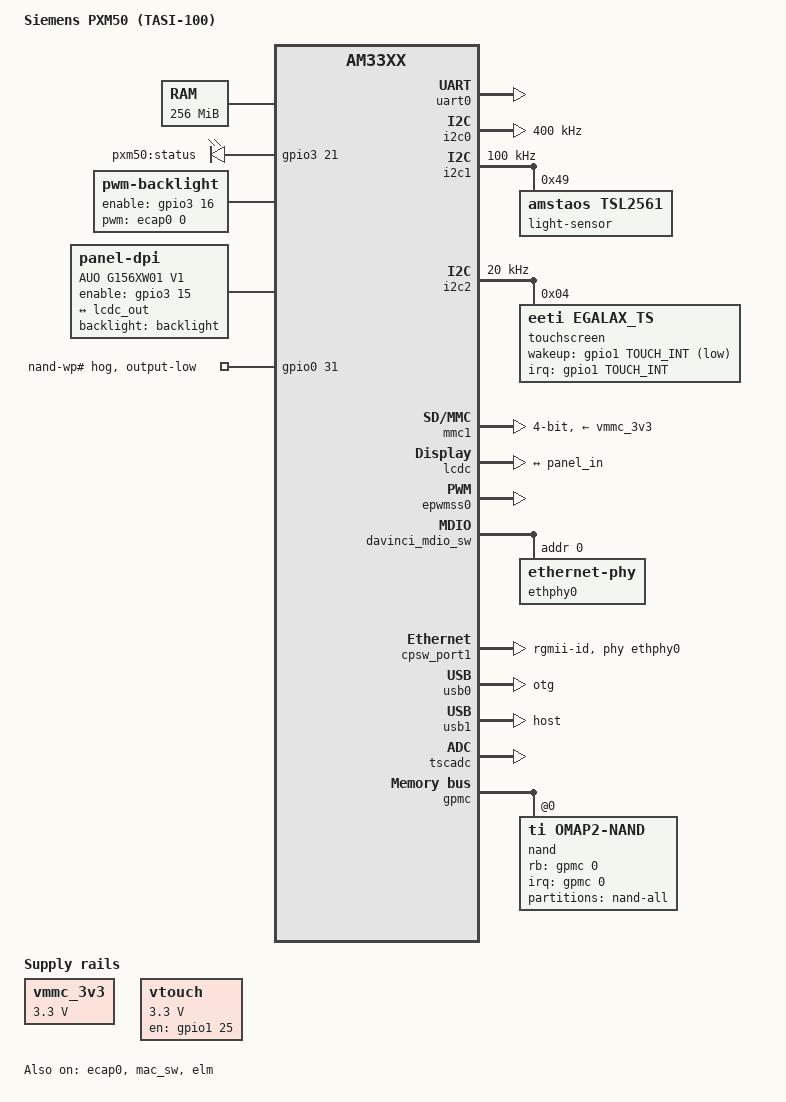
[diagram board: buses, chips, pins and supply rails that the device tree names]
// SPDX-License-Identifier: GPL-2.0
/*
 * Siemens PXM50 (Board TASI-100, AM3354 PG1.0, 2x DDR2 x8, 1 GB NAND)
 * v0.5 – Quellen: U-Boot board/siemens/pxm2 (board.c, mux.c, include/configs/pxm2.h)
 */
/dts-v1/;

#include "am33xx.dtsi"
#include <dt-bindings/gpio/gpio.h>
#include <dt-bindings/interrupt-controller/irq.h>

/* eGalax-INT: verifiziert gpio1_24 (GPIO1 DATAIN Bit 24 kippt bei Berührung) */
#ifndef TOUCH_INT
#define TOUCH_INT 24
#endif

/ {
	model = "Siemens PXM50 (TASI-100)";
	compatible = "siemens,pxm50", "ti,am33xx";

	chosen {
		stdout-path = &uart0;
	};

	memory@80000000 {
		device_type = "memory";
		reg = <0x80000000 0x10000000>; /* 256 MB, U-Boot korrigiert */
	};

	leds {
		compatible = "gpio-leds";
		pinctrl-names = "default";
		pinctrl-0 = <&led_pins>;

		led-status {
			label = "pxm50:status";
			gpios = <&gpio3 21 GPIO_ACTIVE_HIGH>;	/* GPIO 117 */
			linux,default-trigger = "none";	/* rot – später: HA-Verbindungsstatus */
			default-state = "off";
		};
	};

	vmmc_3v3: regulator-vmmc {
		compatible = "regulator-fixed";
		regulator-name = "vmmc";
		regulator-min-microvolt = <3300000>;
		regulator-max-microvolt = <3300000>;
		regulator-always-on;
	};

	vtouch: regulator-touch {
		compatible = "regulator-fixed";
		regulator-name = "touch-power";
		regulator-min-microvolt = <3300000>;
		regulator-max-microvolt = <3300000>;
		gpio = <&gpio1 25 GPIO_ACTIVE_HIGH>;	/* GPIO 57 */
		enable-active-high;
		regulator-always-on;
		regulator-boot-on;
		pinctrl-names = "default";
		pinctrl-0 = <&touch_pwr_pins>;
	};

	backlight: backlight {
		compatible = "pwm-backlight";
		pwms = <&ecap0 0 50000 0>;		/* 20 kHz wie Siemens (0x1388 Ticks) */
		brightness-levels = <0 10 20 30 40 50 60 70 80 90 100>;
		default-brightness-level = <5>;		/* 50 %: sichtbar, egal welche Polarität */
		enable-gpios = <&gpio3 16 GPIO_ACTIVE_HIGH>;	/* GPIO 112 */
		pinctrl-names = "default";
		pinctrl-0 = <&bl_pins>;
	};

	panel {
		compatible = "panel-dpi";
		label = "AUO G156XW01 V1";
		width-mm = <344>;
		height-mm = <194>;
		enable-gpios = <&gpio3 15 GPIO_ACTIVE_HIGH>;	/* GPIO 111, LCD-Power */
		backlight = <&backlight>;
		pinctrl-names = "default";
		pinctrl-0 = <&lcd_pwr_pins>;

		panel-timing {
			clock-frequency = <60000000>;
			hactive = <1376>;	/* LCDC braucht Vielfache von 16 */
			vactive = <768>;
			hfront-porch = <14>;
			hback-porch = <64>;
			hsync-len = <56>;
			vfront-porch = <1>;
			vback-porch = <28>;
			vsync-len = <3>;
			hsync-active = <0>;	/* invert_line_clock = 1 */
			vsync-active = <0>;	/* invert_frm_clock = 1 */
			de-active = <1>;
			pixelclk-active = <1>;	/* invert_pxl_clk = 0 */
		};

		port {
			panel_in: endpoint {
				remote-endpoint = <&lcdc_out>;
			};
		};
	};
};

&am33xx_pinmux {
	uart0_pins: pinmux-uart0 {
		pinctrl-single,pins = <
			AM33XX_PADCONF(AM335X_PIN_UART0_RXD, PIN_INPUT_PULLUP, MUX_MODE0)
			AM33XX_PADCONF(AM335X_PIN_UART0_TXD, PIN_OUTPUT_PULLDOWN, MUX_MODE0)
		>;
	};

	i2c0_pins: pinmux-i2c0 {
		pinctrl-single,pins = <
			AM33XX_PADCONF(AM335X_PIN_I2C0_SDA, PIN_INPUT_PULLUP, MUX_MODE0)
			AM33XX_PADCONF(AM335X_PIN_I2C0_SCL, PIN_INPUT_PULLUP, MUX_MODE0)
		>;
	};

	i2c1_pins: pinmux-i2c1 {
		pinctrl-single,pins = <
			AM33XX_PADCONF(AM335X_PIN_SPI0_D1, PIN_INPUT_PULLUP, MUX_MODE2)	/* i2c1_sda */
			AM33XX_PADCONF(AM335X_PIN_SPI0_CS0, PIN_INPUT_PULLUP, MUX_MODE2)	/* i2c1_scl */
		>;
	};

	i2c2_pins: pinmux-i2c2 {
		pinctrl-single,pins = <
			AM33XX_PADCONF(AM335X_PIN_SPI0_SCLK, PIN_INPUT_PULLUP, MUX_MODE2)	/* i2c2_sda */
			AM33XX_PADCONF(AM335X_PIN_SPI0_D0, PIN_INPUT_PULLUP, MUX_MODE2)	/* i2c2_scl */
		>;
	};

	touch_int_pins: pinmux-touch-int {
		pinctrl-single,pins = <
			AM33XX_PADCONF(AM335X_PIN_GPMC_A6, PIN_INPUT_PULLUP, MUX_MODE7)	/* gpio1_22 */
			AM33XX_PADCONF(AM335X_PIN_GPMC_A8, PIN_INPUT_PULLUP, MUX_MODE7)	/* gpio1_24 */
		>;
	};

	mmc0_pins: pinmux-mmc0 {
		pinctrl-single,pins = <
			AM33XX_PADCONF(AM335X_PIN_MMC0_DAT3, PIN_INPUT_PULLUP, MUX_MODE0)
			AM33XX_PADCONF(AM335X_PIN_MMC0_DAT2, PIN_INPUT_PULLUP, MUX_MODE0)
			AM33XX_PADCONF(AM335X_PIN_MMC0_DAT1, PIN_INPUT_PULLUP, MUX_MODE0)
			AM33XX_PADCONF(AM335X_PIN_MMC0_DAT0, PIN_INPUT_PULLUP, MUX_MODE0)
			AM33XX_PADCONF(AM335X_PIN_MMC0_CLK, PIN_INPUT_PULLUP, MUX_MODE0)
			AM33XX_PADCONF(AM335X_PIN_MMC0_CMD, PIN_INPUT_PULLUP, MUX_MODE0)
		>;
	};

	lcd_pins: pinmux-lcd {
		pinctrl-single,pins = <
			AM33XX_PADCONF(AM335X_PIN_LCD_DATA0, PIN_OUTPUT, MUX_MODE0)
			AM33XX_PADCONF(AM335X_PIN_LCD_DATA1, PIN_OUTPUT, MUX_MODE0)
			AM33XX_PADCONF(AM335X_PIN_LCD_DATA2, PIN_OUTPUT, MUX_MODE0)
			AM33XX_PADCONF(AM335X_PIN_LCD_DATA3, PIN_OUTPUT, MUX_MODE0)
			AM33XX_PADCONF(AM335X_PIN_LCD_DATA4, PIN_OUTPUT, MUX_MODE0)
			AM33XX_PADCONF(AM335X_PIN_LCD_DATA5, PIN_OUTPUT, MUX_MODE0)
			AM33XX_PADCONF(AM335X_PIN_LCD_DATA6, PIN_OUTPUT, MUX_MODE0)
			AM33XX_PADCONF(AM335X_PIN_LCD_DATA7, PIN_OUTPUT, MUX_MODE0)
			AM33XX_PADCONF(AM335X_PIN_LCD_DATA8, PIN_OUTPUT, MUX_MODE0)
			AM33XX_PADCONF(AM335X_PIN_LCD_DATA9, PIN_OUTPUT, MUX_MODE0)
			AM33XX_PADCONF(AM335X_PIN_LCD_DATA10, PIN_OUTPUT, MUX_MODE0)
			AM33XX_PADCONF(AM335X_PIN_LCD_DATA11, PIN_OUTPUT, MUX_MODE0)
			AM33XX_PADCONF(AM335X_PIN_LCD_DATA12, PIN_OUTPUT, MUX_MODE0)
			AM33XX_PADCONF(AM335X_PIN_LCD_DATA13, PIN_OUTPUT, MUX_MODE0)
			AM33XX_PADCONF(AM335X_PIN_LCD_DATA14, PIN_OUTPUT, MUX_MODE0)
			AM33XX_PADCONF(AM335X_PIN_LCD_DATA15, PIN_OUTPUT, MUX_MODE0)
			AM33XX_PADCONF(AM335X_PIN_GPMC_AD8, PIN_OUTPUT, MUX_MODE1)	/* lcd_data16 */
			AM33XX_PADCONF(AM335X_PIN_GPMC_AD9, PIN_OUTPUT, MUX_MODE1)
			AM33XX_PADCONF(AM335X_PIN_GPMC_AD10, PIN_OUTPUT, MUX_MODE1)
			AM33XX_PADCONF(AM335X_PIN_GPMC_AD11, PIN_OUTPUT, MUX_MODE1)
			AM33XX_PADCONF(AM335X_PIN_GPMC_AD12, PIN_OUTPUT, MUX_MODE1)
			AM33XX_PADCONF(AM335X_PIN_GPMC_AD13, PIN_OUTPUT, MUX_MODE1)
			AM33XX_PADCONF(AM335X_PIN_GPMC_AD14, PIN_OUTPUT, MUX_MODE1)
			AM33XX_PADCONF(AM335X_PIN_GPMC_AD15, PIN_OUTPUT, MUX_MODE1)	/* lcd_data23 */
			AM33XX_PADCONF(AM335X_PIN_LCD_VSYNC, PIN_OUTPUT, MUX_MODE0)
			AM33XX_PADCONF(AM335X_PIN_LCD_HSYNC, PIN_OUTPUT, MUX_MODE0)
			AM33XX_PADCONF(AM335X_PIN_LCD_PCLK, PIN_OUTPUT, MUX_MODE0)
			AM33XX_PADCONF(AM335X_PIN_LCD_AC_BIAS_EN, PIN_OUTPUT, MUX_MODE0)
		>;
	};

	lcd_pwr_pins: pinmux-lcd-pwr {
		pinctrl-single,pins = <
			AM33XX_PADCONF(AM335X_PIN_MCASP0_FSX, PIN_OUTPUT, MUX_MODE7)	/* gpio3_15 */
		>;
	};

	bl_pins: pinmux-backlight {
		pinctrl-single,pins = <
			AM33XX_PADCONF(AM335X_PIN_MCASP0_AXR0, PIN_OUTPUT, MUX_MODE7)	/* gpio3_16 */
		>;
	};

	ecap0_pins: pinmux-ecap0 {
		pinctrl-single,pins = <
			AM33XX_PADCONF(AM335X_PIN_ECAP0_IN_PWM0_OUT, PIN_OUTPUT, MUX_MODE0)
		>;
	};

	touch_pwr_pins: pinmux-touch-pwr {
		pinctrl-single,pins = <
			AM33XX_PADCONF(AM335X_PIN_GPMC_A9, PIN_OUTPUT, MUX_MODE7)	/* gpio1_25 */
		>;
	};

	led_pins: pinmux-led {
		pinctrl-single,pins = <
			AM33XX_PADCONF(AM335X_PIN_MCASP0_AHCLKX, PIN_OUTPUT, MUX_MODE7)	/* gpio3_21 */
		>;
	};

	cpsw_pins: pinmux-cpsw {
		pinctrl-single,pins = <
			AM33XX_PADCONF(AM335X_PIN_MII1_TX_EN, PIN_OUTPUT_PULLDOWN, MUX_MODE2)	/* rgmii1_tctl */
			AM33XX_PADCONF(AM335X_PIN_MII1_RX_DV, PIN_INPUT_PULLDOWN, MUX_MODE2)	/* rgmii1_rctl */
			AM33XX_PADCONF(AM335X_PIN_MII1_TXD3, PIN_OUTPUT_PULLDOWN, MUX_MODE2)
			AM33XX_PADCONF(AM335X_PIN_MII1_TXD2, PIN_OUTPUT_PULLDOWN, MUX_MODE2)
			AM33XX_PADCONF(AM335X_PIN_MII1_TXD1, PIN_OUTPUT_PULLDOWN, MUX_MODE2)
			AM33XX_PADCONF(AM335X_PIN_MII1_TXD0, PIN_OUTPUT_PULLDOWN, MUX_MODE2)
			AM33XX_PADCONF(AM335X_PIN_MII1_TX_CLK, PIN_OUTPUT_PULLDOWN, MUX_MODE2)
			AM33XX_PADCONF(AM335X_PIN_MII1_RX_CLK, PIN_INPUT_PULLDOWN, MUX_MODE2)
			AM33XX_PADCONF(AM335X_PIN_MII1_RXD3, PIN_INPUT_PULLDOWN, MUX_MODE2)
			AM33XX_PADCONF(AM335X_PIN_MII1_RXD2, PIN_INPUT_PULLDOWN, MUX_MODE2)
			AM33XX_PADCONF(AM335X_PIN_MII1_RXD1, PIN_INPUT_PULLDOWN, MUX_MODE2)
			AM33XX_PADCONF(AM335X_PIN_MII1_RXD0, PIN_INPUT_PULLDOWN, MUX_MODE2)
		>;
	};

	nand_pins: pinmux-nand {
		pinctrl-single,pins = <
			AM33XX_PADCONF(AM335X_PIN_GPMC_AD0, PIN_INPUT_PULLUP, MUX_MODE0)
			AM33XX_PADCONF(AM335X_PIN_GPMC_AD1, PIN_INPUT_PULLUP, MUX_MODE0)
			AM33XX_PADCONF(AM335X_PIN_GPMC_AD2, PIN_INPUT_PULLUP, MUX_MODE0)
			AM33XX_PADCONF(AM335X_PIN_GPMC_AD3, PIN_INPUT_PULLUP, MUX_MODE0)
			AM33XX_PADCONF(AM335X_PIN_GPMC_AD4, PIN_INPUT_PULLUP, MUX_MODE0)
			AM33XX_PADCONF(AM335X_PIN_GPMC_AD5, PIN_INPUT_PULLUP, MUX_MODE0)
			AM33XX_PADCONF(AM335X_PIN_GPMC_AD6, PIN_INPUT_PULLUP, MUX_MODE0)
			AM33XX_PADCONF(AM335X_PIN_GPMC_AD7, PIN_INPUT_PULLUP, MUX_MODE0)
			AM33XX_PADCONF(AM335X_PIN_GPMC_WAIT0, PIN_INPUT_PULLUP, MUX_MODE0)
			AM33XX_PADCONF(AM335X_PIN_GPMC_CSN0, PIN_OUTPUT, MUX_MODE0)
			AM33XX_PADCONF(AM335X_PIN_GPMC_ADVN_ALE, PIN_OUTPUT, MUX_MODE0)
			AM33XX_PADCONF(AM335X_PIN_GPMC_OEN_REN, PIN_OUTPUT, MUX_MODE0)
			AM33XX_PADCONF(AM335X_PIN_GPMC_WEN, PIN_OUTPUT, MUX_MODE0)
			AM33XX_PADCONF(AM335X_PIN_GPMC_BEN0_CLE, PIN_OUTPUT, MUX_MODE0)
		>;
	};

	nand_wp_pins: pinmux-nand-wp {
		pinctrl-single,pins = <
			AM33XX_PADCONF(AM335X_PIN_GPMC_WPN, PIN_OUTPUT, MUX_MODE7)	/* gpio0_31 */
		>;
	};

	mdio_pins: pinmux-mdio {
		pinctrl-single,pins = <
			AM33XX_PADCONF(AM335X_PIN_MDIO, PIN_INPUT_PULLUP, MUX_MODE0)
			AM33XX_PADCONF(AM335X_PIN_MDC, PIN_OUTPUT_PULLUP, MUX_MODE0)
		>;
	};
};

&uart0 {
	pinctrl-names = "default";
	pinctrl-0 = <&uart0_pins>;
	status = "okay";
};

&i2c0 {		/* TPS65910 @0x2d/0x12, EEPROM @0x50/0x51 (factoryset) */
	pinctrl-names = "default";
	pinctrl-0 = <&i2c0_pins>;
	clock-frequency = <400000>;
	status = "okay";
};

&i2c1 {
	pinctrl-names = "default";
	pinctrl-0 = <&i2c1_pins>;
	clock-frequency = <100000>;
	status = "okay";

	light-sensor@49 {	/* TSL2561, ID-Reg 0x0A = 0x50 */
		compatible = "amstaos,tsl2561";
		reg = <0x49>;
	};
};

&i2c2 {		/* eGalax-Touch (Siemens: egalax_i2c) */
	pinctrl-names = "default";
	pinctrl-0 = <&i2c2_pins>;
	clock-frequency = <20000>;	/* verifiziert: bei 100 kHz nur 1. Byte gültig */
	status = "okay";

	touchscreen@4 {
		compatible = "eeti,egalax_ts";
		reg = <0x04>;
		pinctrl-names = "default";
		pinctrl-0 = <&touch_int_pins>;
		interrupt-parent = <&gpio1>;
		interrupts = <TOUCH_INT IRQ_TYPE_LEVEL_LOW>;
		wakeup-gpios = <&gpio1 TOUCH_INT GPIO_ACTIVE_LOW>;
	};
};

&mmc1 {
	pinctrl-names = "default";
	pinctrl-0 = <&mmc0_pins>;
	vmmc-supply = <&vmmc_3v3>;
	bus-width = <4>;
	broken-cd;
	status = "okay";
};

&lcdc {
	pinctrl-names = "default";
	pinctrl-0 = <&lcd_pins>;
	blue-and-red-wiring = "crossed";	/* verifiziert: RG16 + straight -> Tux-Füße cyan */
	status = "okay";

	port {
		lcdc_out: endpoint {
			remote-endpoint = <&panel_in>;
		};
	};
};

&epwmss0 {
	status = "okay";
};

&ecap0 {
	pinctrl-names = "default";
	pinctrl-0 = <&ecap0_pins>;
	status = "okay";
};

&mac_sw {
	pinctrl-names = "default";
	pinctrl-0 = <&cpsw_pins>;
	status = "okay";
};

&davinci_mdio_sw {
	pinctrl-names = "default";
	pinctrl-0 = <&mdio_pins>;

	ethphy0: ethernet-phy@0 {
		reg = <0>;
	};
};

&cpsw_port1 {
	phy-handle = <&ethphy0>;
	phy-mode = "rgmii-id";	/* Fallback: "rgmii-txid" */
	ti,dual-emac-pvid = <1>;
};

&cpsw_port2 {
	status = "disabled";
};

&usb0 {
	dr_mode = "otg";
};

&usb1 {
	dr_mode = "host";
};

&tscadc {	/* nur ADC: zeigt, ob der Touch resistiv direkt an AIN0..3 hängt */
	status = "okay";

	adc {
		ti,adc-channels = <0 1 2 3 4 5 6 7>;
	};
};

/*
 * NAND 1 GB, 8 bit, BCH8 – NUR LESEN:
 *  - Hardware: WP# per GPIO-Hog dauerhaft LOW (Program/Erase gesperrt)
 *  - Software: eine read-only-Partition über den ganzen Chip
 * GPMC-Timings von am335x-evm (gleiche NAND-Klasse).
 */
&gpio0 {
	pinctrl-names = "default";
	pinctrl-0 = <&nand_wp_pins>;

	nand-wp-hog {
		gpio-hog;
		gpios = <31 GPIO_ACTIVE_HIGH>;
		output-low;
		line-name = "nand-wp#";
	};
};

&elm {
	status = "okay";
};

&gpmc {
	pinctrl-names = "default";
	pinctrl-0 = <&nand_pins>;
	ranges = <0 0 0x08000000 0x1000000>;	/* CS0: 16 MB */
	status = "okay";

	nand@0,0 {
		compatible = "ti,omap2-nand";
		reg = <0 0 4>;
		interrupt-parent = <&gpmc>;
		interrupts = <0 IRQ_TYPE_NONE>, <1 IRQ_TYPE_NONE>;
		rb-gpios = <&gpmc 0 GPIO_ACTIVE_HIGH>;
		ti,nand-ecc-opt = "bch8";
		ti,elm-id = <&elm>;
		nand-bus-width = <8>;
		gpmc,device-width = <1>;
		gpmc,sync-clk-ps = <0>;
		gpmc,cs-on-ns = <0>;
		gpmc,cs-rd-off-ns = <44>;
		gpmc,cs-wr-off-ns = <44>;
		gpmc,adv-on-ns = <6>;
		gpmc,adv-rd-off-ns = <34>;
		gpmc,adv-wr-off-ns = <44>;
		gpmc,we-on-ns = <0>;
		gpmc,we-off-ns = <40>;
		gpmc,oe-on-ns = <0>;
		gpmc,oe-off-ns = <54>;
		gpmc,access-ns = <64>;
		gpmc,rd-cycle-ns = <82>;
		gpmc,wr-cycle-ns = <82>;
		gpmc,bus-turnaround-ns = <0>;
		gpmc,cycle2cycle-delay-ns = <0>;
		gpmc,clk-activation-ns = <0>;
		gpmc,wr-access-ns = <40>;
		gpmc,wr-data-mux-bus-ns = <0>;

		partitions {
			compatible = "fixed-partitions";
			#address-cells = <1>;
			#size-cells = <1>;

			partition@0 {
				label = "nand-all";
				reg = <0x0 0x40000000>;
				read-only;
			};
		};
	};
};
